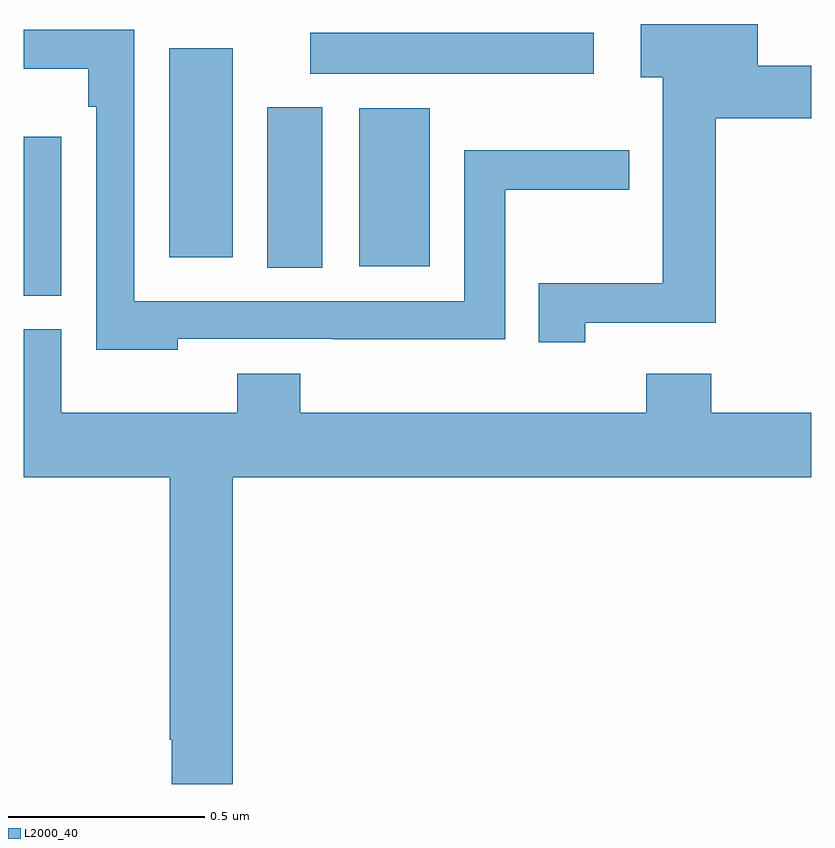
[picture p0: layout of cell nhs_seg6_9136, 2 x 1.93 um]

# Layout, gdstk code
import gdstk
lib = gdstk.Library(unit=1e-6, precision=1e-09)
def R(c, l, rs):  # rectangles x0, y0, x1, y1
    for r in rs: c.add(gdstk.rectangle(r[:2], r[2:], *l))
def P(c, l, *ps):  # polygons
    for p in ps: c.add(gdstk.Polygon(p, *l))
L2000_40 = (2000, 40)

nhs_seg6_9136 = lib.new_cell('nhs_seg6_9136')
R(nhs_seg6_9136, L2000_40, [(230,935.809,230.095,936.214), (230.618,935.881,230.758,936.289), (230.852,935.885,231.031,936.286), (230.369,935.907,230.53,936.439), (230.727,936.374,231.448,936.478)])
P(nhs_seg6_9136, L2000_40, [(231.426,935.741),(231.758,935.741),(231.758,936.26),(232,936.26),(232,936.394),(231.865,936.394),(231.865,936.5),(231.567,936.5),(231.567,936.365),(231.623,936.365),(231.623,935.841),(231.308,935.841),(231.308,935.691),(231.426,935.691)],
  [(230.391,935.7),(230.785,935.7),(230.785,935.699),(231.223,935.699),(231.223,936.079),(231.538,936.079),(231.538,936.179),(231.119,936.179),(231.119,935.796),(230.28,935.796),(230.28,936.485),(230,936.485),(230,936.386),(230.164,936.386),(230.164,936.29),(230.184,936.29),(230.184,935.672),(230.391,935.672)],
  [(230.531,935.348),(232,935.348),(232,935.512),(231.746,935.512),(231.746,935.611),(231.581,935.611),(231.581,935.512),(230.702,935.512),(230.702,935.611),(230.542,935.611),(230.542,935.512),(230.095,935.512),(230.095,935.724),(230,935.724),(230,935.348),(230.371,935.348),(230.371,934.681),(230.375,934.681),(230.375,934.569),(230.531,934.569)])

lib.write_gds('nhs_seg6_9136.gds')
